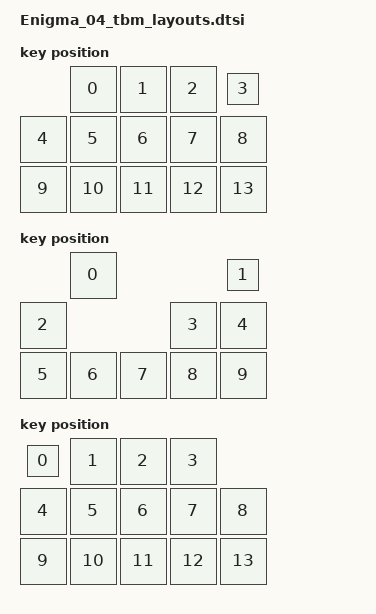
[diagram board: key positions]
#include <physical_layouts.dtsi>

/ {
    layout_tbm0: layout_tbm0 {
        compatible = "zmk,physical-layout";
        display-name = "Enigma_04";
        transform = <&transform_tbm0>;
        kscan = <&kscan_tbm0>;

        keys = <
            &key_physical_attrs 100 100  100   0 0 0 0 
            &key_physical_attrs 100 100  200   0 0 0 0 
            &key_physical_attrs 100 100  300   0 0 0 0 
            &key_physical_attrs  70  70  415  15 0 0 0 
            &key_physical_attrs 100 100    0 100 0 0 0
            &key_physical_attrs 100 100  100 100 0 0 0 
            &key_physical_attrs 100 100  200 100 0 0 0 
            &key_physical_attrs 100 100  300 100 0 0 0 
            &key_physical_attrs 100 100  400 100 0 0 0 
            &key_physical_attrs 100 100    0 200 0 0 0 
            &key_physical_attrs 100 100  100 200 0 0 0
            &key_physical_attrs 100 100  200 200 0 0 0
            &key_physical_attrs 100 100  300 200 0 0 0
            &key_physical_attrs 100 100  400 200 0 0 0
        >;
    };

    layout_tbm1: layout_tbm1 {
        compatible = "zmk,physical-layout";
        display-name = "Enigma_04";
        transform = <&transform_tbm1>;
        kscan = <&kscan_tbm0>;

        keys = <
            &key_physical_attrs 100 100  100   0 0 0 0 
            &key_physical_attrs  70  70  415  15 0 0 0 
            &key_physical_attrs 100 100    0 100 0 0 0
            &key_physical_attrs 100 100  300 100 0 0 0 
            &key_physical_attrs 100 100  400 100 0 0 0 
            &key_physical_attrs 100 100    0 200 0 0 0 
            &key_physical_attrs 100 100  100 200 0 0 0
            &key_physical_attrs 100 100  200 200 0 0 0
            &key_physical_attrs 100 100  300 200 0 0 0
            &key_physical_attrs 100 100  400 200 0 0 0
        >;
    };

    layout_tbm2: layout_tbm2 {
        compatible = "zmk,physical-layout";
        display-name = "Enigma_04";
        transform = <&transform_tbm2>;
        kscan = <&kscan_tbm0>;

        keys = <
            &key_physical_attrs  70  70   15  15 0 0 0 
            &key_physical_attrs 100 100  100   0 0 0 0 
            &key_physical_attrs 100 100  200   0 0 0 0 
            &key_physical_attrs 100 100  300   0 0 0 0 
            &key_physical_attrs 100 100    0 100 0 0 0
            &key_physical_attrs 100 100  100 100 0 0 0 
            &key_physical_attrs 100 100  200 100 0 0 0 
            &key_physical_attrs 100 100  300 100 0 0 0 
            &key_physical_attrs 100 100  400 100 0 0 0 
            &key_physical_attrs 100 100    0 200 0 0 0 
            &key_physical_attrs 100 100  100 200 0 0 0
            &key_physical_attrs 100 100  200 200 0 0 0
            &key_physical_attrs 100 100  300 200 0 0 0
            &key_physical_attrs 100 100  400 200 0 0 0
        >;
    };

    position_map {
        compatible = "zmk,physical-layout-position-map";

        map_tbm0: map_tbm0 {
            physical-layout = <&layout_tbm0>;
            positions = <0 5>;
        };

        map_tbm1: map_tbm1 {
            physical-layout = <&layout_tbm1>;
            positions = <0 3>;
        };
        map_tbm2: map_tbm2 {
            physical-layout = <&layout_tbm2>;
            positions = <0 5>;
        };
    };
};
